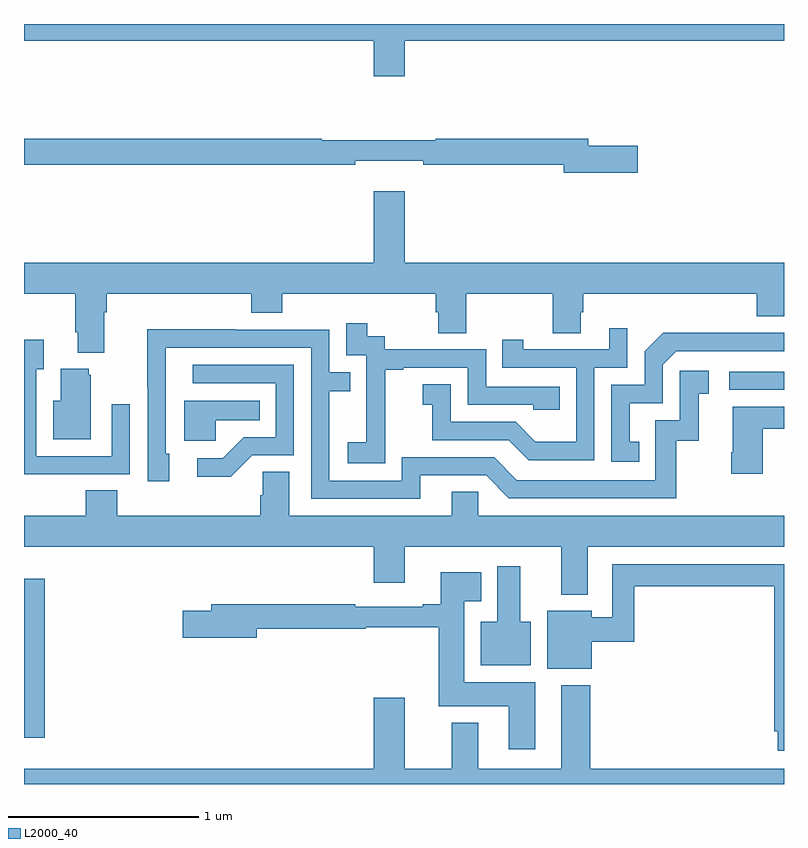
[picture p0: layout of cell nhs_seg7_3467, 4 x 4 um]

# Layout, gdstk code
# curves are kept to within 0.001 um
import gdstk
lib = gdstk.Library(unit=1e-6, precision=1e-09)
def R(c, l, rs):  # rectangles x0, y0, x1, y1
    for r in rs: c.add(gdstk.rectangle(r[:2], r[2:], *l))
def P(c, l, *ps):  # polygons
    for p in ps: c.add(gdstk.Polygon(p, *l))
L2000_40 = (2000, 40)

nhs_seg7_3467 = lib.new_cell('nhs_seg7_3467')
R(nhs_seg7_3467, L2000_40, [(331,1034.244,331.109,1035.079), (334.713,1036.074,335,1036.17)])
P(nhs_seg7_3467, L2000_40, [(331,1037.912),(332.84,1037.912),(332.84,1037.724),(333.004,1037.724),(333.004,1037.912),(335,1037.912),(335,1038),(331,1038)],
  [(334.231,1037.36),(333.97,1037.36),(333.97,1037.396),(333.166,1037.396),(333.166,1037.389),(332.566,1037.389),(332.566,1037.396),(331,1037.396),(331,1037.26),(332.744,1037.26),(332.744,1037.279),(333.1,1037.279),(333.1,1037.26),(333.842,1037.26),(333.842,1037.218),(334.231,1037.218)],
  [(331.423,1036.484),(331.436,1036.484),(331.436,1036.58),(332.195,1036.58),(332.195,1036.481),(332.36,1036.481),(332.36,1036.58),(333.167,1036.58),(333.167,1036.482),(333.179,1036.482),(333.179,1036.372),(333.327,1036.372),(333.327,1036.58),(333.784,1036.58),(333.784,1036.372),(333.931,1036.372),(333.931,1036.482),(333.944,1036.482),(333.944,1036.58),(334.856,1036.58),(334.856,1036.463),(335,1036.463),(335,1036.744),(333.004,1036.744),(333.004,1037.119),(332.84,1037.119),(332.84,1036.744),(331,1036.744),(331,1036.58),(331.271,1036.58),(331.271,1036.378),(331.283,1036.378),(331.283,1036.271),(331.423,1036.271)],
  [(332.901,1035.895),(332.9,1035.895),(332.9,1036.179),(332.995,1036.179),(332.995,1036.191),(333.336,1036.191),(333.336,1035.996),(333.681,1035.996),(333.681,1035.969),(333.821,1035.969),(333.821,1036.092),(333.432,1036.092),(333.432,1036.287),(332.898,1036.287),(332.898,1036.356),(332.806,1036.356),(332.806,1036.426),(332.697,1036.426),(332.697,1036.257),(332.802,1036.257),(332.802,1036.028),(332.801,1036.028),(332.801,1035.799),(332.703,1035.799),(332.703,1035.689),(332.901,1035.689)],
  [(334.002,1036.191),(334.176,1036.191),(334.176,1036.399),(334.079,1036.399),(334.079,1036.287),(333.628,1036.287),(333.628,1036.339),(333.517,1036.339),(333.517,1036.191),(333.906,1036.191),(333.906,1035.802),(333.692,1035.802),(333.588,1035.906),(333.246,1035.906),(333.246,1036.105),(333.099,1036.105),(333.099,1035.995),(333.148,1035.995),(333.148,1035.81),(333.551,1035.81),(333.656,1035.705),(334.002,1035.705)],
  [(333.085,1035.624),(333.432,1035.624),(333.552,1035.504),(334.432,1035.504),(334.432,1035.807),(334.55,1035.807),(334.55,1036.053),(334.603,1036.053),(334.603,1036.174),(334.452,1036.174),(334.452,1035.915),(334.323,1035.915),(334.323,1035.6),(333.594,1035.6),(333.474,1035.72),(332.988,1035.72),(332.988,1035.597),(332.607,1035.597),(332.607,1036.066),(332.717,1036.066),(332.717,1036.167),(332.607,1036.167),(332.607,1036.392),(332.111,1036.392),(332.111,1036.394),(331.648,1036.394),(331.648,1036.087),(331.65,1036.087),(331.65,1035.594),(331.765,1035.594),(331.765,1035.738),(331.746,1035.738),(331.747,1036.296),(332.511,1036.296),(332.511,1035.501),(333.085,1035.501)],
  [(334.238,1035.801),(334.189,1035.801),(334.189,1036.005),(334.362,1036.005),(334.362,1036.206),(334.434,1036.278),(335,1036.278),(335,1036.374),(334.772,1036.374),(334.772,1036.376),(334.364,1036.376),(334.266,1036.278),(334.266,1036.101),(334.092,1036.101),(334.092,1035.696),(334.238,1035.696)],
  [(331.241,1035.63),(331.557,1035.63),(331.557,1036),(331.461,1036),(331.461,1035.726),(331.065,1035.726),(331.065,1036.183),(331.105,1036.183),(331.105,1036.339),(331,1036.339),(331,1035.629),(331.241,1035.629)],
  [(332.202,1035.729),(332.421,1035.729),(332.421,1036.206),(331.887,1036.206),(331.887,1036.11),(332.325,1036.11),(332.325,1035.825),(332.156,1035.825),(332.045,1035.714),(331.911,1035.714),(331.911,1035.617),(332.089,1035.617)],
  [(331.351,1036.155),(331.34,1036.155),(331.34,1036.186),(331.193,1036.186),(331.193,1036.018),(331.154,1036.018),(331.154,1035.815),(331.351,1035.815)],
  [(332.01,1035.914),(332.24,1035.914),(332.24,1036.018),(331.844,1036.018),(331.844,1035.806),(332.01,1035.806)],
  [(334.888,1035.871),(335,1035.871),(335,1035.985),(334.73,1035.985),(334.73,1035.745),(334.723,1035.745),(334.723,1035.632),(334.888,1035.632)],
  [(333.967,1035.248),(335,1035.248),(335,1035.412),(333.39,1035.412),(333.39,1035.539),(333.251,1035.539),(333.251,1035.412),(332.395,1035.412),(332.395,1035.644),(332.256,1035.644),(332.256,1035.521),(332.243,1035.521),(332.243,1035.412),(331.49,1035.412),(331.49,1035.545),(331.325,1035.545),(331.325,1035.412),(331,1035.412),(331,1035.248),(332.84,1035.248),(332.84,1035.06),(333.004,1035.06),(333.004,1035.248),(333.827,1035.248),(333.827,1034.996),(333.967,1034.996)],
  [(335,1035.156),(334.095,1035.156),(334.095,1034.878),(333.988,1034.878),(333.988,1034.911),(333.755,1034.911),(333.755,1034.606),(333.988,1034.606),(333.988,1034.749),(334.211,1034.749),(334.211,1035.04),(334.948,1035.04),(334.948,1034.278),(334.967,1034.278),(334.967,1034.174),(335,1034.174)],
  [(333.667,1034.854),(333.613,1034.854),(333.613,1035.145),(333.491,1035.145),(333.491,1034.854),(333.404,1034.854),(333.404,1034.624),(333.667,1034.624)],
  [(333.691,1034.536),(333.316,1034.536),(333.316,1034.963),(333.406,1034.963),(333.406,1035.115),(333.194,1035.115),(333.194,1034.947),(333.098,1034.947),(333.098,1034.934),(332.744,1034.934),(332.744,1034.947),(331.985,1034.947),(331.985,1034.913),(331.836,1034.913),(331.836,1034.771),(332.224,1034.771),(332.224,1034.818),(332.798,1034.818),(332.798,1034.826),(333.182,1034.826),(333.182,1034.408),(333.551,1034.408),(333.551,1034.184),(333.691,1034.184)],
  [(335,1034.08),(333.98,1034.08),(333.98,1034.521),(333.827,1034.521),(333.827,1034.08),(333.391,1034.08),(333.391,1034.323),(333.251,1034.323),(333.251,1034.08),(333.004,1034.08),(333.004,1034.455),(332.84,1034.455),(332.84,1034.08),(331,1034.08),(331,1034),(335,1034)])

lib.write_gds('nhs_seg7_3467.gds')
